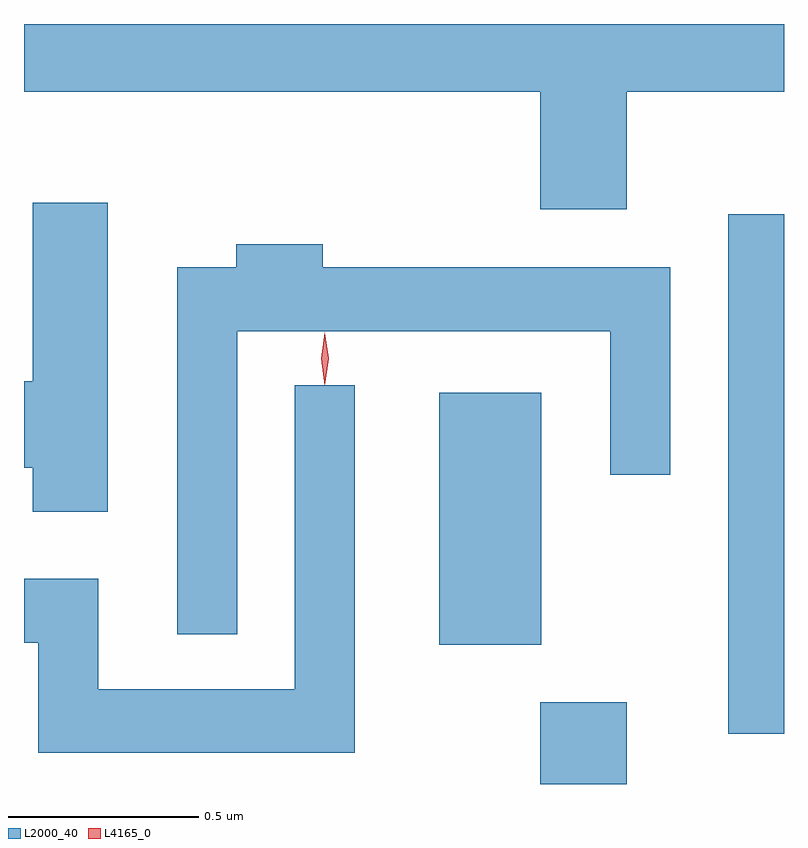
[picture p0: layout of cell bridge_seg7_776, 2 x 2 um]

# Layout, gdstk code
import gdstk
lib = gdstk.Library(unit=1e-6, precision=1e-09)
def R(c, l, rs):  # rectangles x0, y0, x1, y1
    for r in rs: c.add(gdstk.rectangle(r[:2], r[2:], *l))
def P(c, l, *ps):  # polygons
    for p in ps: c.add(gdstk.Polygon(p, *l))
L2000_40 = (2000, 40)
L4165_0 = (4165, 0)

bridge_seg7_776 = lib.new_cell('bridge_seg7_776')
R(bridge_seg7_776, L2000_40, [(503.381,1736.914,503.609,1737.129), (503.876,1737.046,504.023,1738.413), (503.116,1737.281,503.384,1737.944)])
P(bridge_seg7_776, L2000_40, [(503.609,1738.736),(504.023,1738.736),(504.023,1738.914),(502.023,1738.914),(502.023,1738.736),(503.381,1738.736),(503.381,1738.426),(503.609,1738.426)],
  [(502.244,1738.444),(502.046,1738.444),(502.046,1737.974),(502.023,1737.974),(502.023,1737.746),(502.046,1737.746),(502.046,1737.631),(502.244,1737.631)],
  [(502.584,1738.106),(503.566,1738.106),(503.566,1737.728),(503.724,1737.728),(503.724,1738.274),(502.809,1738.274),(502.809,1738.334),(502.581,1738.334),(502.581,1738.274),(502.426,1738.274),(502.426,1737.308),(502.584,1737.308)],
  [(502.894,1737.963),(502.736,1737.963),(502.736,1737.164),(502.219,1737.164),(502.219,1737.454),(502.023,1737.454),(502.023,1737.286),(502.061,1737.286),(502.061,1736.996),(502.894,1736.996)])
P(bridge_seg7_776, L4165_0, [(502.814,1737.964),(502.805,1738.033),(502.814,1738.102),(502.815,1738.103),(502.815,1738.102),(502.825,1738.033),(502.815,1737.964),(502.815,1737.964)],
  [(502.814,1737.967),(502.805,1738.034),(502.814,1738.1),(502.815,1738.101),(502.815,1738.1),(502.825,1738.034),(502.815,1737.967),(502.815,1737.967)])

lib.write_gds('bridge_seg7_776.gds')
